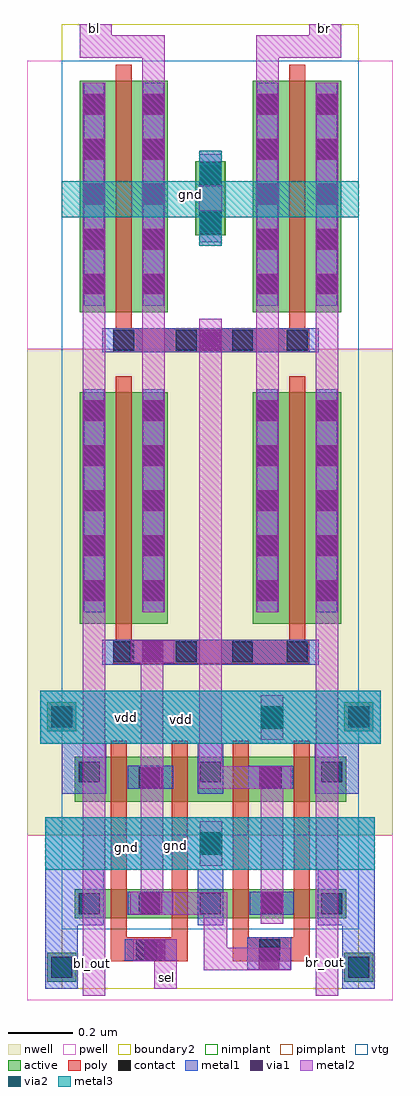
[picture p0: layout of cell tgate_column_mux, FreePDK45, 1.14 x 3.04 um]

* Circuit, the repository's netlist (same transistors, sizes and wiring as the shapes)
************************************************************************
* auCdl Netlist:
* 
* Library Name:  openram
* Top Cell Name: tgate_column_mux
* View Name:     schematic
* Netlisted on:  Mar  7 04:14:13 2021
************************************************************************

*.EQUATION
*.SCALE METER
*.MEGA
.PARAM



************************************************************************
* Library Name: openram
* Cell Name:    tgate_column_mux
* View Name:    schematic
************************************************************************

.SUBCKT tgate_column_mux bl br bl_out br_out sel vdd gnd
MM5 br_out sel_buf br gnd NMOS_VTG W=720.0n L=50n m=1
MM2 bl_out sel_buf bl gnd NMOS_VTG W=720.0n L=50n m=1
MM0 sel_buf sel_bar gnd gnd NMOS_VTG W=180.0n L=50n m=1
MM12 sel_bar sel gnd gnd NMOS_VTG W=180.0n L=50n m=1
MM4 br_out sel_bar br vdd PMOS_VTG W=720.0n L=50n m=1
MM3 bl_out sel_bar bl vdd PMOS_VTG W=720.0n L=50n m=1
MM1 sel_buf sel_bar vdd vdd PMOS_VTG W=280.0n L=50n m=1
MM11 sel_bar sel vdd vdd PMOS_VTG W=280.0n L=50n m=1
.ENDS

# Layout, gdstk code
from math import pi, radians
import gdstk
lib = gdstk.Library(unit=1e-6, precision=5e-10)
def R(c, l, rs):  # rectangles x0, y0, x1, y1
    for r in rs: c.add(gdstk.rectangle(r[:2], r[2:], *l))
def A(c, l, x, y, w, h, nx, ny, dx, dy):  # array of equal rectangles
    R(c, l, [(x+i*dx, y+j*dy, x+i*dx+w, y+j*dy+h) for i in range(nx) for j in range(ny)])
active = (1, 0)
pwell = (2, 0)
nwell = (3, 0)
nimplant = (4, 0)
pimplant = (5, 0)
vtg = (6, 0)
poly = (9, 0)
contact = (10, 0)
metal1 = (11, 0)
via1 = (12, 0)
metal2 = (13, 0)
via2 = (14, 0)
metal3 = (15, 0)
boundary2 = (239, 0)

m2_m1_cdns_615109587770 = lib.new_cell('M2_M1_CDNS_615109587770')
R(m2_m1_cdns_615109587770, metal1, [(-0.0325,-0.0675,0.0325,0.0675)])
R(m2_m1_cdns_615109587770, via1, [(-0.0325,-0.0325,0.0325,0.0325)])
R(m2_m1_cdns_615109587770, metal2, [(-0.0675,-0.035,0.0675,0.035)])

m2_m1_cdns_615109587771 = lib.new_cell('M2_M1_CDNS_615109587771')
R(m2_m1_cdns_615109587771, metal1, [(-0.0325,-0.0675,0.0325,0.0675)])
R(m2_m1_cdns_615109587771, via1, [(-0.0325,-0.0325,0.0325,0.0325)])
R(m2_m1_cdns_615109587771, metal2, [(-0.035,-0.0675,0.035,0.0675)])

m3_m2_cdns_615109587772 = lib.new_cell('M3_M2_CDNS_615109587772')
R(m3_m2_cdns_615109587772, metal2, [(-0.035,-0.1475,0.035,0.1475)])
R(m3_m2_cdns_615109587772, via2, [(-0.035,-0.1125,0.035,-0.0425), (-0.035,0.0425,0.035,0.1125)])
R(m3_m2_cdns_615109587772, metal3, [(-0.035,-0.1475,0.035,0.1475)])

m2_m1_cdns_615109587773 = lib.new_cell('M2_M1_CDNS_615109587773')
R(m2_m1_cdns_615109587773, metal1, [(-0.035,-0.1375,0.035,0.1375)])
R(m2_m1_cdns_615109587773, via1, [(-0.0325,-0.1025,0.0325,-0.0375), (-0.0325,0.0375,0.0325,0.1025)])
R(m2_m1_cdns_615109587773, metal2, [(-0.035,-0.1475,0.035,0.1475)])

m1_p_cdns_615109587774 = lib.new_cell('M1_P_CDNS_615109587774')
R(m1_p_cdns_615109587774, active, [(-0.045,-0.3175,0.045,0.3175)])
R(m1_p_cdns_615109587774, pimplant, [(-0.045,-0.3175,0.045,0.3175)])
A(m1_p_cdns_615109587774, contact, -0.0325, -0.3125, 0.065, 0.065, 1, 5, 0, 0.14)
R(m1_p_cdns_615109587774, metal1, [(-0.0325,-0.3475,0.0325,0.3475)])

m2_m1_cdns_615109587775 = lib.new_cell('M2_M1_CDNS_615109587775')
R(m2_m1_cdns_615109587775, metal1, [(-0.0325,-0.3475,0.0325,0.3475)])
A(m2_m1_cdns_615109587775, via1, -0.0325, -0.3125, 0.065, 0.065, 1, 5, 0, 0.14)
R(m2_m1_cdns_615109587775, metal2, [(-0.035,-0.3475,0.035,0.3475)])

m1_n_cdns_615109587776 = lib.new_cell('M1_N_CDNS_615109587776')
R(m1_n_cdns_615109587776, active, [(-0.045,-0.3175,0.045,0.3175)])
R(m1_n_cdns_615109587776, nimplant, [(-0.045,-0.3175,0.045,0.3175)])
A(m1_n_cdns_615109587776, contact, -0.0325, -0.3125, 0.065, 0.065, 1, 5, 0, 0.14)
R(m1_n_cdns_615109587776, metal1, [(-0.0325,-0.3475,0.0325,0.3475)])

ptap_cdns_615109587777 = lib.new_cell('PTAP_CDNS_615109587777')
R(ptap_cdns_615109587777, active, [(-0.0475,-0.115,0.0475,0.115)])
R(ptap_cdns_615109587777, pwell, [(-0.1,-0.17,0.1,0.17)])
R(ptap_cdns_615109587777, pimplant, [(-0.045,-0.115,0.045,0.115)])
R(ptap_cdns_615109587777, contact, [(-0.0325,-0.1025,0.0325,-0.0375), (-0.0325,0.0375,0.0325,0.1025)])
R(ptap_cdns_615109587777, metal1, [(-0.035,-0.1375,0.035,0.1375)])

m3_m2_cdns_615109587778 = lib.new_cell('M3_M2_CDNS_615109587778')
R(m3_m2_cdns_615109587778, metal2, [(-0.035,-0.07,0.035,0.07)])
R(m3_m2_cdns_615109587778, via2, [(-0.035,-0.035,0.035,0.035)])
R(m3_m2_cdns_615109587778, metal3, [(-0.035,-0.07,0.035,0.07)])

m2_m1_cdns_615109587779 = lib.new_cell('M2_M1_CDNS_615109587779')
R(m2_m1_cdns_615109587779, metal1, [(-0.035,-0.0675,0.035,0.0675)])
R(m2_m1_cdns_615109587779, via1, [(-0.0325,-0.0325,0.0325,0.0325)])
R(m2_m1_cdns_615109587779, metal2, [(-0.035,-0.07,0.035,0.07)])

tgate_column_mux = lib.new_cell('tgate_column_mux')
A(tgate_column_mux, active, 0.04, 0.23, 0.09, 0.09, 3, 1, 0.3775, 0)
R(tgate_column_mux, active, [(-0.045,0.0325,0.045,0.1225), (0.88,0.0325,0.97,0.1225), (0.04,0.23,0.885,0.32), (0.04,0.5925,0.885,0.7325), (-0.045,0.8125,0.045,0.9025), (0.88,0.8125,0.97,0.9025), (0.055,1.1475,0.33,1.8675), (0.595,1.1475,0.87,1.8675), (0.055,2.1175,0.33,2.8375), (0.595,2.1175,0.87,2.8375)])
R(tgate_column_mux, pwell, [(-0.1075,-0.025,1.03,0.4875), (-0.1075,2.0025,1.03,2.9)])
R(tgate_column_mux, nwell, [(-0.1075,0.4875,1.03,2.0025)])
R(tgate_column_mux, nimplant, [(0.04,0.23,0.885,0.32), (-0.045,0.8125,0.045,0.9025), (0.88,0.8125,0.97,0.9025), (0.055,2.1175,0.33,2.8375), (0.595,2.1175,0.87,2.8375)])
R(tgate_column_mux, pimplant, [(-0.045,0.0325,0.045,0.1225), (0.88,0.0325,0.97,0.1225), (0.04,0.5925,0.885,0.7325), (0.055,1.1475,0.33,1.8675), (0.595,1.1475,0.87,1.8675)])
R(tgate_column_mux, vtg, [(0,0.195,0.925,2.9)])
A(tgate_column_mux, poly, 0.1525, 0.095, 0.05, 0.6875, 4, 1, 0.19, 0)
R(tgate_column_mux, poly, [(0.1525,0.095,0.3925,0.17), (0.5325,0.095,0.7725,0.17), (0.16,1.0225,0.7275,1.0975), (0.695,1.0225,0.77,1.0975), (0.1675,1.025,0.2175,1.9175), (0.7075,1.025,0.7575,1.9175), (0.16,1.9925,0.7275,2.0675), (0.695,1.9925,0.77,2.0675), (0.1675,1.995,0.2175,2.8875), (0.7075,1.995,0.7575,2.8875)])
A(tgate_column_mux, contact, 0.24, 0.2425, 0.065, 0.065, 3, 1, 0.19, 0)
A(tgate_column_mux, contact, 0.0525, 0.6525, 0.065, 0.065, 3, 1, 0.3775, 0)
R(tgate_column_mux, contact, [(-0.0325,0.045,0.0325,0.11), (0.8925,0.045,0.9575,0.11), (0.23,0.1,0.295,0.165), (0.615,0.1,0.68,0.165), (0.0525,0.2425,0.1175,0.3075), (0.8075,0.2425,0.8725,0.3075), (0.24,0.635,0.305,0.7), (0.62,0.635,0.685,0.7), (-0.0325,0.825,0.0325,0.89), (0.8925,0.825,0.9575,0.89), (0.16,1.0275,0.225,1.0925), (0.355,1.0275,0.42,1.0925), (0.53,1.0275,0.595,1.0925), (0.7,1.0275,0.765,1.0925), (0.16,1.9975,0.225,2.0625), (0.355,1.9975,0.42,2.0625), (0.53,1.9975,0.595,2.0625), (0.7,1.9975,0.765,2.0625)])
R(tgate_column_mux, metal1, [(-0.0525,0.01,0.05,0.4375), (0.8725,0.01,0.975,0.4375), (0.5775,0.07,0.715,0.17), (0.195,0.0975,0.3575,0.165), (0.035,0.2075,0.13,0.42), (0.4225,0.2075,0.5025,0.4225), (0.7975,0.2075,0.8925,0.42), (0.205,0.24,0.3475,0.3125), (0.585,0.24,0.72,0.3125), (-0.0525,0.38,0.975,0.545), (0,0.6175,0.1375,0.83), (0.4225,0.6175,0.5025,0.78), (0.7875,0.6175,0.925,0.83), (0.205,0.6325,0.3475,0.705), (0.58,0.6325,0.72,0.705), (-0.0675,0.7725,0.9925,0.9375), (0.125,1.02,0.8,1.0975), (0.125,1.9925,0.8,2.0675)])
R(tgate_column_mux, metal2, [(0.065,-0.0125,0.135,1.3575), (0.79,-0.0125,0.86,1.3575), (0.2875,0.01,0.3575,0.165), (0.4425,0.0675,0.68,0.1375), (0.4425,0.1,0.515,0.31), (0.245,0.24,0.4975,0.31), (0.245,0.255,0.315,1.095), (0.62,0.3,0.69,0.7025), (0.4275,0.6325,0.69,0.7025), (0.4275,0.7025,0.4975,2.065), (0.065,1.775,0.135,2.17), (0.25,1.775,0.32,2.17), (0.605,1.775,0.675,2.17), (0.79,1.775,0.86,2.17), (0.25,2.73,0.32,2.965), (0.605,2.73,0.675,2.93), (0.055,2.91,0.32,2.98), (0.055,2.91,0.155,3.015), (0.605,2.91,0.87,2.98), (0.77,2.91,0.87,3.015)])
R(tgate_column_mux, metal3, [(-0.0525,0.38,0.975,0.545), (-0.0675,0.7725,0.9925,0.9375), (0,2.4125,0.925,2.525)])
R(tgate_column_mux, boundary2, [(0,0.01,0.925,3.015)])
tgate_column_mux.add(gdstk.Reference(m2_m1_cdns_615109587770, (0.28,0.6675), rotation=pi/2))
tgate_column_mux.add(gdstk.Reference(m2_m1_cdns_615109587770, (0.4625,2.03), rotation=pi/2))
tgate_column_mux.add(gdstk.Reference(m2_m1_cdns_615109587770, (0.655,0.28), rotation=pi/2))
tgate_column_mux.add(gdstk.Reference(m2_m1_cdns_615109587771, (0.2825,1.06), rotation=pi/2))
tgate_column_mux.add(gdstk.Reference(m2_m1_cdns_615109587771, (0.645,0.1025), rotation=pi/2))
tgate_column_mux.add(gdstk.Reference(m2_m1_cdns_615109587771, (0.29,0.13), rotation=pi/2))
tgate_column_mux.add(gdstk.Reference(m2_m1_cdns_615109587771, (0.28,0.2775), rotation=pi/2))
tgate_column_mux.add(gdstk.Reference(m2_m1_cdns_615109587771, (0.6475,0.6675), rotation=pi/2))
tgate_column_mux.add(gdstk.Reference(m3_m2_cdns_615109587772, (0.4625,2.4725)))
tgate_column_mux.add(gdstk.Reference(m2_m1_cdns_615109587773, (0.4625,2.4725)))
tgate_column_mux.add(gdstk.Reference(m1_p_cdns_615109587774, (0.1,1.53)))
tgate_column_mux.add(gdstk.Reference(m1_p_cdns_615109587774, (0.285,1.53)))
tgate_column_mux.add(gdstk.Reference(m1_p_cdns_615109587774, (0.825,1.53)))
tgate_column_mux.add(gdstk.Reference(m1_p_cdns_615109587774, (0.64,1.53)))
tgate_column_mux.add(gdstk.Reference(m2_m1_cdns_615109587775, (0.825,2.485)))
tgate_column_mux.add(gdstk.Reference(m2_m1_cdns_615109587775, (0.285,2.485)))
tgate_column_mux.add(gdstk.Reference(m2_m1_cdns_615109587775, (0.1,2.485)))
tgate_column_mux.add(gdstk.Reference(m2_m1_cdns_615109587775, (0.64,1.53)))
tgate_column_mux.add(gdstk.Reference(m2_m1_cdns_615109587775, (0.1,1.53)))
tgate_column_mux.add(gdstk.Reference(m2_m1_cdns_615109587775, (0.285,1.53)))
tgate_column_mux.add(gdstk.Reference(m2_m1_cdns_615109587775, (0.64,2.485)))
tgate_column_mux.add(gdstk.Reference(m2_m1_cdns_615109587775, (0.825,1.53)))
tgate_column_mux.add(gdstk.Reference(m1_n_cdns_615109587776, (0.825,2.485)))
tgate_column_mux.add(gdstk.Reference(m1_n_cdns_615109587776, (0.285,2.485)))
tgate_column_mux.add(gdstk.Reference(m1_n_cdns_615109587776, (0.1,2.485)))
tgate_column_mux.add(gdstk.Reference(m1_n_cdns_615109587776, (0.64,2.485)))
tgate_column_mux.add(gdstk.Reference(ptap_cdns_615109587777, (0.4625,2.4725)))
tgate_column_mux.add(gdstk.Reference(m3_m2_cdns_615109587778, (0.655,0.855), rotation=pi))
tgate_column_mux.add(gdstk.Reference(m3_m2_cdns_615109587778, (0.465,0.4625), rotation=pi))
tgate_column_mux.add(gdstk.Reference(m2_m1_cdns_615109587779, (0.655,0.855), rotation=pi))
tgate_column_mux.add(gdstk.Reference(m2_m1_cdns_615109587779, (0.465,0.4625), rotation=pi))
tgate_column_mux.add(gdstk.Label('gnd', (0.4,2.4825), layer=15, texttype=0))
tgate_column_mux.add(gdstk.Label('gnd', (0.355,0.455), layer=15, texttype=0))
tgate_column_mux.add(gdstk.Label('vdd', (0.3725,0.85), layer=15, texttype=0))
tgate_column_mux.add(gdstk.Label('gnd', (0.2025,0.45), layer=11, texttype=0))
tgate_column_mux.add(gdstk.Label('vdd', (0.2025,0.855), layer=11, texttype=0))
tgate_column_mux.add(gdstk.Label('sel', (0.325,0.045), layer=13, texttype=0))
tgate_column_mux.add(gdstk.Label('br_out', (0.8225,0.0925), layer=13, texttype=0))
tgate_column_mux.add(gdstk.Label('bl_out', (0.095,0.0875), layer=13, texttype=0))
tgate_column_mux.add(gdstk.Label('br', (0.8175,3), layer=13, texttype=0))
tgate_column_mux.add(gdstk.Label('bl', (0.1025,3), layer=13, texttype=0))

lib.write_gds('tgate_column_mux.gds')
